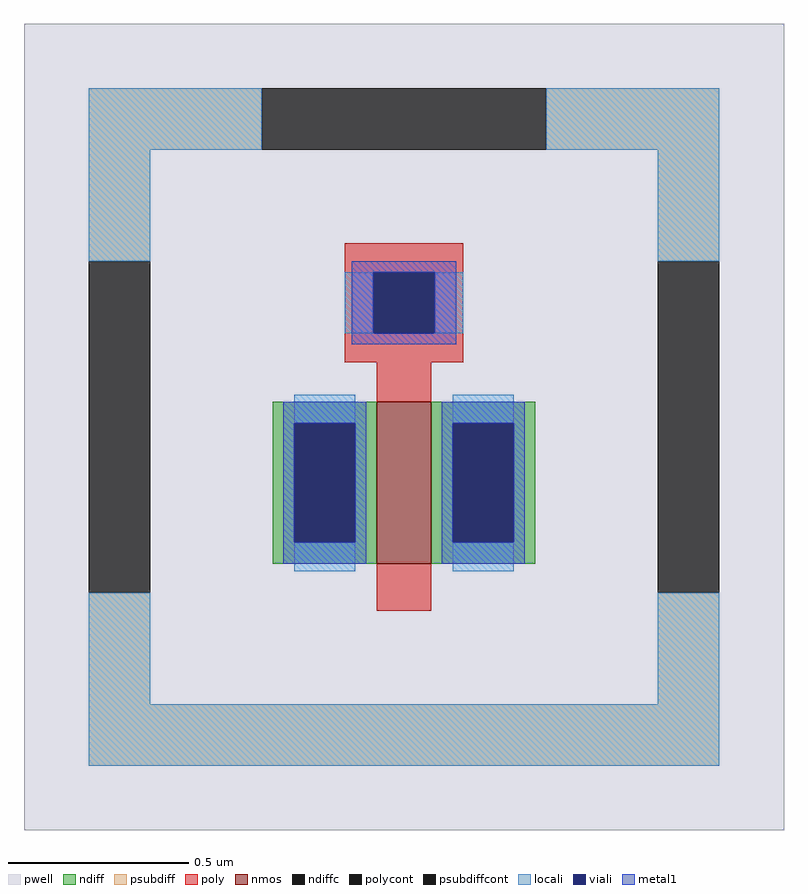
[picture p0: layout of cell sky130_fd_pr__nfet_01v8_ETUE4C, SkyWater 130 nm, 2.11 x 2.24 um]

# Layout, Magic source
magic
tech sky130A
magscale 1 2
<< pwell >>
rect -211 -224 211 224
<< nmos >>
rect -15 -76 15 14
<< ndiff >>
rect -73 2 -15 14
rect -73 -64 -61 2
rect -27 -64 -15 2
rect -73 -76 -15 -64
rect 15 2 73 14
rect 15 -64 27 2
rect 61 -64 73 2
rect 15 -76 73 -64
<< ndiffc >>
rect -61 -64 -27 2
rect 27 -64 61 2
<< psubdiff >>
rect -175 154 -79 188
rect 79 154 175 188
rect -175 92 -141 154
rect 141 92 175 154
rect -175 -154 -141 -92
rect 141 -154 175 -92
rect -175 -188 175 -154
<< psubdiffcont >>
rect -79 154 79 188
rect -175 -92 -141 92
rect 141 -92 175 92
<< poly >>
rect -33 86 33 102
rect -33 52 -17 86
rect 17 52 33 86
rect -33 36 33 52
rect -15 14 15 36
rect -15 -102 15 -76
<< polycont >>
rect -17 52 17 86
<< locali >>
rect -175 154 -79 188
rect 79 154 175 188
rect -175 92 -141 154
rect 141 92 175 154
rect -33 52 -17 86
rect 17 52 33 86
rect -61 2 -27 18
rect -61 -80 -27 -64
rect 27 2 61 18
rect 27 -80 61 -64
rect -175 -154 -141 -92
rect 141 -154 175 -92
rect -175 -188 175 -154
<< viali >>
rect -17 52 17 86
rect -61 -64 -27 2
rect 27 -64 61 2
<< metal1 >>
rect -29 86 29 92
rect -29 52 -17 86
rect 17 52 29 86
rect -29 46 29 52
rect -67 2 -21 14
rect -67 -64 -61 2
rect -27 -64 -21 2
rect -67 -76 -21 -64
rect 21 2 67 14
rect 21 -64 27 2
rect 61 -64 67 2
rect 21 -76 67 -64
<< properties >>
string gencell sky130_fd_pr__nfet_01v8
string FIXED_BBOX -158 -171 158 171
string parameters w 0.45 l 0.150 m 1 nf 1 diffcov 100 polycov 100 guard 1 glc 1 grc 1 gtc 1 gbc 0 tbcov 100 rlcov 100 topc 1 botc 0 poverlap 0 doverlap 1 lmin 0.15 wmin 0.42 compatible {sky130_fd_pr__nfet_01v8 sky130_fd_pr__nfet_01v8_lvt  sky130_fd_bs_flash__special_sonosfet_star  sky130_fd_pr__nfet_g5v0d10v5 sky130_fd_pr__nfet_05v0_nvt} full_metal 1 viasrc 100 viadrn 100 viagate 100 viagb 0 viagr 0 viagl 0 viagt 0
string library sky130
<< end >>
